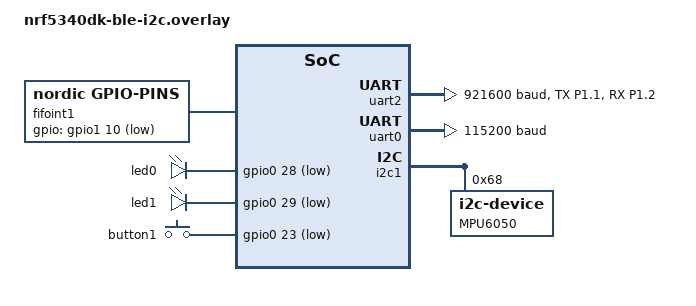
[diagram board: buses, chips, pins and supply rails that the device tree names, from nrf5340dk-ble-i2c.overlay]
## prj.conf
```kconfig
# Misc. settings (allow nonsecure logging, enable I2C)
CONFIG_I2C=y
CONFIG_FPU=y
CONFIG_TFM_SECURE_UART=n
CONFIG_TFM_LOG_LEVEL_SILENCE=y
CONFIG_LOG_BACKEND_SHOW_COLOR=y


# Bluetooth settings
CONFIG_BT=y
CONFIG_BT_PERIPHERAL=y
CONFIG_BT_SMP=n
CONFIG_BT_SETTINGS=n
CONFIG_BT_PRIVACY=n
CONFIG_BT_SIGNING=n
CONFIG_BT_GATT_CACHING=n
CONFIG_BT_USER_DATA_LEN_UPDATE=y
CONFIG_BT_GATT_CLIENT=y
CONFIG_BT_L2CAP_TX_MTU=247
CONFIG_BT_BUF_ACL_TX_SIZE=251
CONFIG_BT_PHY_UPDATE=y
CONFIG_BT_DEVICE_NAME="Arctic_Beacon"

# Logging parameters
CONFIG_LOG=y
CONFIG_PRINTK=y
CONFIG_SERIAL=y
CONFIG_LOG_BACKEND_UART=y
CONFIG_UART_CONSOLE=y
CONFIG_UART_INTERRUPT_DRIVEN=y
CONFIG_LOG_DEFAULT_LEVEL=3
CONFIG_LOG_BUFFER_SIZE=8192
CONFIG_LOG_PROCESS_THREAD_STACK_SIZE=4096
CONFIG_LOG_MODE_DEFERRED=y
```

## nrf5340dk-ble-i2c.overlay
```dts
/ {
    fifoint1: fifoint1 {
        compatible = "nordic,gpio-pins";  
        gpios = <&gpio1 10 GPIO_ACTIVE_LOW>;
    }; 

    aliases {
        led0 = &led0;
        led1 = &led1;
        button1 = &button1;
        fifoint = &fifoint1;
    };
};




/* Override LED0 definition */
&led0 {
    gpios = <&gpio0 28 GPIO_ACTIVE_LOW>;
};
&led1 {
    gpios = <&gpio0 29 GPIO_ACTIVE_LOW>;
};
&button1 {
    gpios = <&gpio0 23 GPIO_ACTIVE_LOW>;
};


&pinctrl {
    uart2_default: uart2_default {
        group1 {
            psels = <
                NRF_PSEL(UART_TX, 1, 1)
                NRF_PSEL(UART_RX, 1, 2)
            >;
        };
    };
};

&uart2 {
    status = "okay";
    current-speed = <921600>;
    pinctrl-0 = <&uart2_default>;
    pinctrl-names = "default";
};

&uart0 {
    current-speed = <115200>;   // logging UART
};

&i2c1{
    mpu6050:mpu6050@68{
        compatible = "i2c-device";
        reg = < 0x68 >;
        status = "okay";
        label = "MPU6050";
    };
};
```

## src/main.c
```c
#include <zephyr/kernel.h>
#include "mpu6050.h"
#include "button.h" 
#include <zephyr/device.h>
#include <zephyr/devicetree.h>
#include <zephyr/drivers/uart.h>
#include <zephyr/logging/log.h>
#include <zephyr/sys/printk.h>

#define STACKSIZE 4096
#define PRIORITY 5
#define SAMPLES_PER_BURST 170   // 1000 samples per burst (~100ms)
#define BURST_INTERVAL_US 125000 // 100ms
#define POLL_INTERVAL_MS 1

#define I2C1_NODE DT_NODELABEL(mpu6050)
static const struct i2c_dt_spec dev_i2c1 = I2C_DT_SPEC_GET(I2C1_NODE);
const struct device *data_uart = DEVICE_DT_GET(DT_NODELABEL(uart2));

extern volatile uint8_t counter;

LOG_MODULE_REGISTER(testapp);


#define FIFO_BUFFER_SIZE 1020
extern volatile bool fifo_data_ready;
extern volatile uint16_t read_size;
extern uint8_t fifo_raw_buffer[FIFO_BUFFER_SIZE];
extern int16_t accel_offset_x;
extern int16_t accel_offset_y;
extern int16_t accel_offset_z;


K_THREAD_STACK_DEFINE(send_data_stack, STACKSIZE);
K_THREAD_STACK_DEFINE(fifo_poll_stack, STACKSIZE);
static struct k_thread send_data_thread_id;
static struct k_thread fifo_poll_thread_id;

void send_data_thread(void)
{
  while (1) {
        if (!fifo_data_ready) {
            k_sleep(K_MSEC(1));
            continue;
        }

        // Number of frames in FIFO
        int samples = read_size / 6;
        int32_t sum_x = 0, sum_y = 0, sum_z = 0;

        for (int i = 0; i < samples; i++) {
            uint8_t *p = &fifo_raw_buffer[i * 6];

            int16_t raw_x = ((int16_t)p[0] << 8) | p[1];
            int16_t raw_y = ((int16_t)p[2] << 8) | p[3];
            int16_t raw_z = ((int16_t)p[4] << 8) | p[5];

            // Apply calibration offsets
            raw_x -= accel_offset_x;
            raw_y -= accel_offset_y;
            raw_z -= accel_offset_z;

            sum_x += raw_x;
            sum_y += raw_y;
            sum_z += raw_z;
        }

        // Average values
        struct Measurement m;
        m.x = (float)sum_x / (samples * 16384.0f);
        m.y = (float)sum_y / (samples * 16384.0f);
        m.z = 1.0f + ((float)sum_z / (samples * 16384.0f));

        // Send over UART
        uart_poll_out(data_uart, 0xAA);
        uart_poll_out(data_uart, 0x55);

        uint8_t *mptr = (uint8_t *)&m;
        for (int j = 0; j < sizeof(m); j++)
            uart_poll_out(data_uart, mptr[j]);

        fifo_data_ready = false;  // Reset flag
    }
} 

void fifo_poll_thread(void)
{
    while (1) {
        uint8_t fifo_cnt[2];
        if (i2c_burst_read_dt(&dev_i2c1, read_addr.fifo_counth, fifo_cnt, 2) != 0) {
            k_sleep(K_MSEC(POLL_INTERVAL_MS));
            continue;
        }

        uint16_t fifo_count = ((uint16_t)fifo_cnt[0] << 8) | fifo_cnt[1];
        if (fifo_count >= 6) {
            uint16_t aligned = fifo_count - (fifo_count % 6);
            if (aligned > FIFO_BUFFER_SIZE)
                aligned = FIFO_BUFFER_SIZE - (FIFO_BUFFER_SIZE % 6);

            if (i2c_burst_read_dt(&dev_i2c1, read_addr.fifo_rw, fifo_raw_buffer, aligned) == 0) {
                read_size = aligned;
                fifo_data_ready = true;
            }
        }

        k_sleep(K_MSEC(1));
    }
}

int main(void)
{
    
    if (!device_is_ready(data_uart)) {
        LOG_ERR("UART2 not ready");
        return 1;
    }

    struct uart_config cfg = {
        .baudrate = 921600,
        .parity = UART_CFG_PARITY_NONE,
        .stop_bits = UART_CFG_STOP_BITS_1,
        .data_bits = UART_CFG_DATA_BITS_8,
        .flow_ctrl = UART_CFG_FLOW_CTRL_NONE,
    };
    uart_configure(data_uart, &cfg); 

        // Initialize button callback (optional)
    gpio_pin_configure_dt(&button1, GPIO_INPUT | GPIO_PULL_UP);
    gpio_pin_interrupt_configure_dt(&button1, GPIO_INT_EDGE_TO_INACTIVE);
    gpio_init_callback(&button_cb, update_press, BIT(button1.pin));
    gpio_add_callback(button1.port, &button_cb);



    // Initialize MPU6050
    if (!mpu6050_init(&dev_i2c1)) return 1;
    if (!mpu6050_accel_test(&dev_i2c1)) return 1;
    if (!mpu6050_calculate_accel_offsets(&dev_i2c1)) return 1;
    if (!fifoint_enable(&dev_i2c1)) return 1;

        // Initialize MPU6050 sensor interrupt
    gpio_pin_configure_dt(&fifoint, GPIO_INPUT | GPIO_PULL_UP);
    gpio_pin_interrupt_configure_dt(&fifoint, GPIO_INT_EDGE_TO_INACTIVE);
    gpio_init_callback(&fifo_cb, readFIFO, BIT(fifoint.pin));
    gpio_add_callback(fifoint.port, &fifo_cb);


    k_thread_create(&fifo_poll_thread_id,
                    fifo_poll_stack,
                    STACKSIZE,
                    fifo_poll_thread,
                    NULL, NULL, NULL,
                    PRIORITY, 0, K_NO_WAIT);
    
    // Start data thread
    k_thread_create(&send_data_thread_id,
                    send_data_stack,
                    STACKSIZE,
                    send_data_thread,
                    NULL, NULL, NULL,
                    PRIORITY, 0, K_NO_WAIT); 

    return 0;
}
```

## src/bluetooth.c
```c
#include "bluetooth.h"
#include "button.h"

LOG_MODULE_DECLARE(testapp);

static bool notify_accel_enabled = false;
extern uint8_t counter;

#define BT_UUID_SERVICE_VAL  BT_UUID_128_ENCODE(0x12345678,0x1234,0x5678,0x1234,0x56789abcdef0)
#define BT_UUID_ACCEL_CHAR_VAL     BT_UUID_128_ENCODE(0x12345679,0x1234,0x5678,0x1234,0x56789abcdef0)

static struct bt_uuid_128 sensor_service_uuid = BT_UUID_INIT_128(BT_UUID_SERVICE_VAL);
static struct bt_uuid_128 accel_char_uuid    = BT_UUID_INIT_128(BT_UUID_ACCEL_CHAR_VAL);

static void accel_ccc_cfg_changed(const struct bt_gatt_attr *attr, uint16_t value);


/* GATT service definition and characteristic definitions */
BT_GATT_SERVICE_DEFINE(my_svc,
    BT_GATT_PRIMARY_SERVICE(&sensor_service_uuid),

    /* ACCEL characteristic */
    BT_GATT_CHARACTERISTIC(&accel_char_uuid.uuid,
            BT_GATT_CHRC_NOTIFY,
            BT_GATT_PERM_NONE,
            NULL, NULL, NULL),

    BT_GATT_CCC(accel_ccc_cfg_changed,
            BT_GATT_PERM_READ | BT_GATT_PERM_WRITE),

    BT_GATT_DESCRIPTOR(BT_UUID_GATT_CUD,
            BT_GATT_PERM_READ,
            NULL, NULL, "Accelerometer Data")
       
);


static void accel_ccc_cfg_changed(const struct bt_gatt_attr *attr, uint16_t value)
{
    notify_accel_enabled = (value & BT_GATT_CCC_NOTIFY) != 0;
}



static void on_connected(struct bt_conn *conn, uint8_t err)
{
    if (err) {
        LOG_ERR("BLE: Failed to connect (%u)\n", err);
    } else {
        LOG_INF("BLE: Connected\n");
    }

}

static void on_disconnected(struct bt_conn *conn, uint8_t reason)
{
    LOG_INF("BLE: Disconnected (reason %u)\n", reason);
}

BT_CONN_CB_DEFINE(conn_callbacks) = {
    .connected = on_connected,
    .disconnected = on_disconnected
};

int my_ble_init(void)
{
    printk("BLE initializing\n");

    int err = bt_enable(NULL);
    if (err) {
        LOG_ERR("BLE init failed (%d)\n", err);
        return err;
    }


    /* Connectable BLE GATT parameters */
    static const struct bt_le_adv_param adv_param = {
        .id = BT_ID_DEFAULT,
        .interval_min = BT_GAP_ADV_FAST_INT_MIN_2,
        .interval_max = BT_GAP_ADV_FAST_INT_MAX_2,
        .options = BT_LE_ADV_OPT_USE_NAME| BT_LE_ADV_OPT_CONNECTABLE,  
    };

    /* Start advertising with aforementioned parameters */
    err = bt_le_adv_start(&adv_param, NULL, 0, NULL, 0);
    if (err) {
        LOG_ERR("Advertising failed (%d)", err);
        return err;
    }

    LOG_INF("Advertising started\n");
    printk("BLE initialized\n");


    return 0;
}
```

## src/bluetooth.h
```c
#ifndef MY_BLUETOOTH_H
#define MY_BLUETOOTH_H

#include <zephyr/bluetooth/bluetooth.h>
#include <zephyr/bluetooth/gatt.h>
#include <zephyr/bluetooth/conn.h>
#include <zephyr/logging/log.h>
#include "measurement.h"
#include <zephyr/sys/byteorder.h>

typedef struct __attribute__((packed)) {
    int16_t x;
    int16_t y;
    int16_t z;
    uint8_t button_val;
} Data;

int my_ble_init(void);

#endif
```

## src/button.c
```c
#include "button.h"

struct gpio_callback button_cb;
volatile uint8_t counter = 0;
const struct gpio_dt_spec button1 = GPIO_DT_SPEC_GET(DT_ALIAS(button1), gpios);

void update_press(const struct device *dev, struct gpio_callback *cb, uint32_t pins)
{

    if(counter < 5)
    {
        counter++;
    }
    else
    {
        counter = 0;
    }
}
```

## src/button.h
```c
#ifndef BUTTON_H
#define BUTTON_H
#include <zephyr/drivers/gpio.h>

extern struct gpio_callback button_cb;
extern const struct gpio_dt_spec button1;
extern struct k_sem conn_sem;

void update_press(const struct device *dev,struct gpio_callback *cb,uint32_t pins);
#endif
```

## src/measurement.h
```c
#ifndef MEASUREMENT_H
#define MEASUREMENT_H

#include <stdint.h>

typedef struct __attribute__((packed)) {
    float x;
    float y;
    float z;
} Data;

struct Measurement {
    float x;
    float y;
    float z;
} __attribute__((packed));

#endif
```

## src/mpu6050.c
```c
#include "mpu6050.h"


LOG_MODULE_DECLARE(testapp);


uint8_t fssel_input = 0x00;
uint8_t accel_input = 0x00;
uint8_t register_data;
int16_t gyro_offset_x = 0, gyro_offset_y = 0 , gyro_offset_z = 0;
int16_t accel_offset_x = 0, accel_offset_y = 0, accel_offset_z = 0;
const struct gpio_dt_spec fifoint = GPIO_DT_SPEC_GET(DT_ALIAS(fifoint), gpios);
struct gpio_callback fifo_cb;
static struct k_work fifo_work;
const struct i2c_dt_spec *mpu_i2c_bus;

#define FIFO_BUFFER_SIZE 1020

uint8_t fifo_raw_buffer[FIFO_BUFFER_SIZE];
volatile bool fifo_data_ready = false;
volatile uint16_t read_size = 0;



bool mpu6050_init(const struct i2c_dt_spec *target_node) 
{   
    uint8_t addr_data; // Used for reading the WHO_AM_I register (the fundamental device availability check)
    uint8_t config_data;
    uint8_t smprate_data;
    uint8_t accel_data;
    uint8_t fssel_data; // Used to check written fssel configuration
    uint8_t power_state; // Used for checking correct write of power state (On)
    uint8_t fssel_selection = 0; // Selection of configuration with index number of fssel_options array
    uint8_t accel_selection = 0;
    bool power = false;
    int res;

    /* Configure LED for calibration signaling (led0 for accel, led1 for gyro)*/
    gpio_pin_configure_dt(&led0, GPIO_OUTPUT_INACTIVE);
    gpio_pin_configure_dt(&led1, GPIO_OUTPUT_INACTIVE);

    /* Check microcontroller I2C bus */
    printk("Initializing MPU6050 driver\n");
    if (!device_is_ready(target_node->bus)) {
        LOG_ERR("I2C bus not ready\n");
        return false;
    }

    /* Check MPU6050 by reading WHO_AM_I register */
    res = i2c_reg_read_byte_dt(target_node, MPU6050_WHOAMI, &addr_data);
    if (res != 0) 
    {
        LOG_ERR("Failed to read WHO_AM_I register (err %d)\n", res);
        return false;
    }

    while (!power)
    {
        /* Reset entire sensor by setting DEVICE_RESET bit */
        res = i2c_reg_write_byte_dt(target_node, init.power, 0x80);
        if(res != 0)
        {
	    LOG_ERR("Failed to reset device");
        return false;
        }

        k_msleep(100);

        /* Reset subsensors and FIFO buffer */
        res = i2c_reg_write_byte_dt(target_node, init.fifo_usrctrl, 0x05);
        if(res != 0)
        {
	    LOG_ERR("Failed to clear buffers");
        return false;
        }

        k_msleep(100);

        /* Set clock source as internal gyroscope Z axis for stability and power on sensor */
        res = i2c_reg_write_byte_dt(target_node, init.power, 0x03);
        if(res != 0)
        {
	    LOG_ERR("Failed to write clock source");
        return false;
        }

        k_msleep(50);

        /* Verify PWR_MGMT_1 register contents */
        res = i2c_reg_read_byte_dt(target_node, init.power, &power_state);
        if(res != 0 || power_state != 0x03) 
        {
        LOG_ERR("Register verification failed");
        return false;
        }
        power = true;
    }

    /* Write CLPF/External Frame Sync configuration */
    res = i2c_reg_write_byte_dt(target_node, init.config[0], init.config[1]);
    if(res != 0)
    {
	    LOG_ERR("Failed to write configuration");
        return false;
    }
    k_msleep(100);

    /* Write sample rate divider */
    res = i2c_reg_write_byte_dt(target_node, init.smp_rate[0], init.smp_rate[1]);
    if(res != 0)
    {
	LOG_ERR("Failed to write sample rate divider");
    return false;
    }
    k_msleep(50);

    /* Set Full Scale Range based on fssel_selection variable */
    switch(fssel_selection)
    {
    case 0:
        break;
    case 1:
        fssel_input = fssel_input | 0x08;
        break;
    case 2:
        fssel_input = fssel_input | 0x10;
        break;
    case 3:
        fssel_input = fssel_input | 0x18;
        break;
    default:
        break;
    }

    uint8_t fs_sel[2] = {shared.gyro_config,fssel_input}; 

    /* Write Full Scale Range configuration */
    res = i2c_reg_write_byte_dt(target_node, fs_sel[0], fs_sel[1]);
    if(res != 0)
    {
	    LOG_ERR("Failed to write full scale range");
        return false;
    }
    k_msleep(50);

     /* Set Full Scale Range based on fssel_selection variable */
    switch(accel_selection)
    {
    case 0:
        break;
    case 1:
        accel_input = accel_input | 0x08;
        break;
    case 2:
        accel_input = accel_input | 0x10;
        break;
    case 3:
        accel_input = accel_input | 0x18;
        break;
    default:
        break;
    }

    uint8_t accel[2] = {shared.accel_config,accel_input}; 

    /* Write Full Scale Range configuration */
    res = i2c_reg_write_byte_dt(target_node, accel[0], accel[1]);
    if(res != 0)
    {
	    LOG_ERR("Failed to write full scale range");
        return false;
    }

    i2c_reg_read_byte_dt(target_node, shared.accel_config, &accel_data);
    printk("Accelerometer config is %x\n", accel_data);


    /* Log written configuration */
    LOG_INF("The full scale range is ±%i°/s\n", 250*(fssel_selection+1));
    if((config_data & 0x07) != 0)
    {
        LOG_INF("The sample rate is %i Hz\n", (8000/(1+init.smp_rate[1]))); // TODO: Check config bits for DLPF and change base sample rate based on it.
    }
    else if((config_data & 0x07) == 0)
    {
        LOG_INF("The sample rate is %i Hz\n", (1000/(1+init.smp_rate[1]))); // TODO: Check config bits for DLPF and change base sample rate based on it.
    }
    LOG_INF("Data written to config: %x\n", config_data);
    printk("MPU6050 driver initialized\n");
    return true;
}



bool fifoint_enable(const struct i2c_dt_spec *target_node)
{
    /* set alternative pointer to MPU6050 to be used by interrupt work handler */
    mpu_i2c_bus = target_node;
    int res;

    /* Write FIFO_EN bit to USER_CTRL */
    i2c_reg_write_byte_dt(target_node, init.fifo_usrctrl, 0x40); 
    k_msleep(50);
    /* Enable acceleration data in FIFO buffer*/
    res = i2c_reg_write_byte_dt(target_node, init.fifoen[0], init.fifoen[1]);
    if(res != 0)
    {
	    LOG_ERR("Failed to enable FIFO");
        return false;
    }

    /* Initialize work handler */
    k_work_init(&fifo_work, fifo_handler);

    /* Enable DATA_RDY interrupts */
    res = i2c_reg_write_byte_dt(target_node, 0x38, 0x10);
    if(res != 0)
    {
        LOG_ERR("Failed to enable FIFO interrupt");
        return false;
    }
    return true;
}



void fifo_handler(struct k_work *work)
{
   uint8_t int_status;

    // Read INT_STATUS register
    if (i2c_reg_read_byte_dt(mpu_i2c_bus, 0x3A, &int_status) != 0) return;

    if (int_status & 0x10) {  // FIFO_OVERFLOW
        //LOG_ERR("FIFO overflow detected, resetting FIFO");

        // Reset FIFO
        i2c_reg_write_byte_dt(mpu_i2c_bus, init.fifo_usrctrl, 0x04); // reset FIFO
        k_msleep(1);
        i2c_reg_write_byte_dt(mpu_i2c_bus, init.fifo_usrctrl, 0x40); // re-enable FIFO

        fifo_data_ready = false; // clear flag
    }
}



void readFIFO(const struct device *dev,struct gpio_callback *cb,uint32_t pins)
{   
    k_work_submit(&fifo_work);
}



bool mpu6050_calculate_gyro_offsets(const struct i2c_dt_spec *target_node)
{
    const int samples = 3000;
    int32_t sum_x = 0, sum_y = 0, sum_z = 0;
    uint8_t buf[6];
    int valid_samples = 0;

    printk("Calculating MPU6050 gyro offsets...\n");
    gpio_pin_toggle_dt(&led1);

    for (int i = 0; i < samples; i++) {
        if (i2c_burst_read_dt(target_node, 0x43, buf, 6) != 0) {
            LOG_ERR("Failed to read gyro sample %d\n", i);
            k_sleep(K_MSEC(2));
            continue;
        }

        sum_x += (int16_t)((buf[0] << 8) | buf[1]);
        sum_y += (int16_t)((buf[2] << 8) | buf[3]);
        sum_z += (int16_t)((buf[4] << 8) | buf[5]);

        valid_samples++;
        k_sleep(K_MSEC(2));
    }

    if (valid_samples == 0) {
        LOG_ERR("No valid gyro samples read\n");
        return false;
    }

    gyro_offset_x = sum_x / valid_samples;
    gyro_offset_y = sum_y / valid_samples;
    gyro_offset_z = sum_z / valid_samples;

    printk("Gyro offsets calculated: X=%d Y=%d Z=%d\n",
           gyro_offset_x, gyro_offset_y, gyro_offset_z);

    gpio_pin_toggle_dt(&led1);
    return true;
}



bool mpu6050_calculate_accel_offsets(const struct i2c_dt_spec *target_node)
{
    const int samples = 5000;
    int32_t sum_x = 0, sum_y = 0, sum_z = 0;
    uint8_t buf[6];
    int valid_samples = 0;

            
    /* Notify user about calibration start via logs and LED */
    printk("Calculating MPU6050 accelerometer offsets...\n");
    gpio_pin_toggle_dt(&led0);


    /* Take samples */
    for (int i = 0; i < samples; i++) {
        if (i2c_burst_read_dt(target_node, 0x3B, buf, 6) != 0) {
            LOG_ERR("Failed to read accel sample %d\n", i);
            k_sleep(K_MSEC(2));
            continue;
        }

        sum_x += (int16_t)((buf[0] << 8) | buf[1]);
        sum_y += (int16_t)((buf[2] << 8) | buf[3]);
        sum_z += (int16_t)((buf[4] << 8) | buf[5]);

        valid_samples++;
        k_sleep(K_MSEC(2));
    }

    if (valid_samples == 0) {
        LOG_ERR("No valid accel samples read\n");
        return false;
    }

    /* calculate offset */
    accel_offset_x = sum_x / valid_samples;
    accel_offset_y = sum_y / valid_samples;

    /* Adjust Z offset to account for gravity (~1g) */
    accel_offset_z = (sum_z / valid_samples) - 16384; // assuming FS=±2g

    printk("Accel offsets calculated: X=%d Y=%d Z=%d\n",
           accel_offset_x, accel_offset_y, accel_offset_z);
    /* Notify user of calibration end via LED */
    gpio_pin_toggle_dt(&led0);       
    return true;
}



bool mpu6050_gyro_test(const struct i2c_dt_spec *target_node) 
{
    uint8_t test_value = fssel_input | 0xE0;
    uint8_t config_write;
    int registers[] = {selftest_addr.x, selftest_addr.y, selftest_addr.z};
    int register_size = sizeof(registers) / sizeof(registers[0]);
    int8_t trim[3];
    int8_t str[3];
    int8_t deviation[3];
    uint8_t test_bits[3];
    uint8_t raw_bits[3];
    
    /* Enable test mode*/
    int res_test = i2c_reg_write_byte_dt(target_node, shared.gyro_config, test_value);
    if(res_test != 0)
    {
	    LOG_ERR("Failed to enable tests!");
        return false;
    }
    for(int i=0; i < register_size; i++)
    {
        int ret = i2c_reg_read_byte_dt(target_node, registers[i], &raw_bits[i]);
        if (ret != 0) {
            LOG_ERR("Failed to read Self-test register (err %d)\n", ret);
            return false;
        }
        raw_bits[i] = raw_bits[i] & 0x1f; // Discard first three bits
    }
    /* Disable test mode */
    int res_notest = i2c_reg_write_byte_dt(target_node, shared.gyro_config, fssel_input);
    if(res_notest != 0)
    {
	    LOG_ERR("Failed to disable tests!");
        return false;
    }
    k_sleep(K_MSEC(250));
    for(int i=0; i < register_size; i++)
    {
        int ret = i2c_reg_read_byte_dt(target_node, registers[i], &test_bits[i]);
        if (ret != 0) {
            LOG_ERR("Failed to read Self-test register (err %d)\n", ret);
            return false;
        }
        test_bits[i] = test_bits[i] & 0x1f; // Discard first three bits
    }

    /* Calculate trim deviation for Gyroscope */
    for(int i=0; i < register_size; i++)
    {
        str[i] = test_bits[i] - raw_bits[i];              // Self-Test Response
        trim[i] = (25*131*pow(1.046, (test_bits[i]-1)));  // 25*131*1.046^(test-1)
        deviation[i] = ((str[i] - trim[i]) / trim[i]);    // trim deviation from Factory defaults in percents
    }
    LOG_INF("Gyroscope X deviation: %i%%, Y deviation: %i%%, Z deviation: %i%%\n", deviation[0], deviation[1], deviation[2]);

    /* Warn user if values under/over tresholds */
    if(!(deviation[0] > -14 && deviation[0] < 14) || !(deviation[1] > -14 && deviation[1] < 14) || !(deviation[2] > -14 && deviation[2] < 14))
    {
        LOG_WRN("Self-test values exceeded/went under treshold. Please check the sensor");
    }
    return true;
}



bool mpu6050_accel_test(const struct i2c_dt_spec *target_node) 
{
    uint8_t test_value = accel_input | 0xE0;
    uint8_t config_write;
    int registers[] = {selftest_addr.x, selftest_addr.y, selftest_addr.z};
    int register_size = sizeof(registers) / sizeof(registers[0]);
    uint8_t extra_bits[3];
    int8_t trim[3];
    int8_t str[3];
    int8_t deviation[3];
    uint8_t test_bits[3];
    uint8_t raw_bits[3];
    
    int res_test = i2c_reg_write_byte_dt(target_node, shared.accel_config, test_value);
    if(res_test != 0)
    {
	    LOG_ERR("Failed to enable tests!");
        return false;
    }
    for(int i=0; i < register_size; i++)
    {
        int ret = i2c_reg_read_byte_dt(target_node, registers[i], &test_bits[i]);
        if (ret != 0) {
            LOG_ERR("Failed to read Self-test register (err %d)\n", ret);
            return false;
        }

        int extra_ret = i2c_reg_read_byte_dt(target_node, 0x10, &extra_bits[i]);
        if (extra_ret != 0) {
            LOG_ERR("Failed to read Self-test register (err %d)\n", ret);
            return false;
        }
        test_bits[i] &= 0xE0; // Remove last five bits
        extra_bits[i] = (extra_bits[i] >> (6 - i*2)) & 0x03; // extract extra bits
        extra_bits[i] <<= 2; // set extra bits to LSB
        test_bits[i] = (test_bits[i] >> 3) | extra_bits[i]; // merge bits
    }
    memset(extra_bits, 0, sizeof(extra_bits)); // Empty extra bit array
    int res_notest = i2c_reg_write_byte_dt(target_node, shared.accel_config, accel_input);
    if(res_notest != 0)
    {
	    LOG_ERR("Failed to disable tests!");
        return false;
    }
    k_sleep(K_MSEC(250));
    for(int i=0; i < register_size; i++)
    {
        int ret = i2c_reg_read_byte_dt(target_node, registers[i], &raw_bits[i]);
        if (ret != 0) {
            LOG_ERR("Failed to read Self-test register (err %d)\n", ret);
            return false;
        }
        raw_bits[i] &= 0xE0; // Remove last five bits
        extra_bits[i] = (extra_bits[i] >> (6 - i*2)) & 0x03; // extract extra bits
        extra_bits[i] <<= 2; // set extra bits to LSB
        raw_bits[i] = (raw_bits[i] >> 3) | extra_bits[i]; // merge bits
    }


    i2c_reg_read_byte_dt(target_node, shared.accel_config, &config_write);
    printk("Accelerometer config after test is %x\n", config_write);

    /*Calculate trim deviation for Accelometer */
    for(int i=0; i < register_size; i++)
    {
        str[i] = test_bits[i] - raw_bits[i];
        trim[i] = 4096*0.34*pow((0.92/0.34),((test_bits[i]-1) / (pow(2,5)-2)));
        deviation[i] = ((str[i] - trim[i]) / trim[i]); 
    }

    LOG_INF("Accelometer X deviation: %i%%, Y deviation: %i%%, Z deviation: %i%%\n", deviation[0], deviation[1], deviation[2]);

    /* Warn user if values under/over tresholds */
    if(!(deviation[0] > -14 && deviation[0] < 14) || !(deviation[1] > -14 && deviation[1] < 14) || !(deviation[2] > -14 && deviation[2] < 14))
    {
        LOG_WRN("Self-test values exceeded/went under treshold. Please check the sensor");
    }
    return true;
}
```

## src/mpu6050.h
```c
#ifndef MPU6050_H
#define MPU6050_H

#include <zephyr/drivers/i2c.h>
#include <zephyr/logging/log.h>
#include <zephyr/drivers/gpio.h>
#include <math.h>
#include "measurement.h"

#define MPU6050_ADDR 0x68
#define MPU6050_WHOAMI 0x75

static const struct gpio_dt_spec led0 = GPIO_DT_SPEC_GET(DT_ALIAS(led0), gpios);
static const struct gpio_dt_spec led1 = GPIO_DT_SPEC_GET(DT_ALIAS(led1), gpios);

extern const struct gpio_dt_spec fifoint;
extern struct gpio_callback fifo_cb;


/* Self-test registers */
static const struct 
{
    const uint8_t x;
    const uint8_t y;
    const uint8_t z;
    const uint8_t gyro_config;
    const uint8_t accel_config;
} selftest_addr = 
{
    .x = 0x0D,
    .y = 0x0E,
    .z = 0x0F
};


/* Used for registers and values used by multiple portions of the software*/
static const struct 
{
    const uint8_t gyro_config;
    const uint8_t accel_config;
} shared = 
{
    .gyro_config = 0x1B,
    .accel_config = 0x1C
};

/* Registers and values used during initialization*/
static const struct 
{
    const uint8_t config[2];
    const uint8_t smp_rate[2];
    const uint8_t power;
    const uint8_t fifoen[2];
    const uint8_t fifo_usrctrl;
} init = 
{
    .config = {0x1A,0x00}, // Configuration, enable/disable CLPF/External Frame Sync
    .smp_rate = {0x19,0}, // Divider for sample rate, sample rate calculated with (8KHz|1KHz)/(1+smp_rate)
    .power = 0x6B, // Register address and value for power state (0x00 for on)
    .fifoen = {0x23, 0x08}, // FIFO Enable register and enable bit for Accelometer
    .fifo_usrctrl = 0x6A // FIFO USER_CTRL register (used for FIFO Ops enable and buffer reset)
};

/* Registers to be read outside of init and/or testing */
static const struct 
{
    const uint8_t gx;
    const uint8_t gy;
    const uint8_t gz;
    const uint8_t fifo_counth;
    const uint8_t fifo_countl;
    const uint8_t fifo_rw;
} read_addr = 
{
    .gx = 0x43,
    .gy = 0x45,
    .gz = 0x47,
    .fifo_counth = 0x72,
    .fifo_countl = 0x73,
    .fifo_rw = 0x74
};


/*Check I2C bus availability and check device availability by reading WHO_AM_I*/
bool mpu6050_init(const struct i2c_dt_spec *target_node);


/* Read self-test registers for gyroscope bits */
bool mpu6050_gyro_test(const struct i2c_dt_spec *target_node);

/* Read self-test registers for accelometer bits */
bool mpu6050_accel_test(const struct i2c_dt_spec *target_node);

bool fifoint_enable(const struct i2c_dt_spec *target_node);

void fifo_handler(struct k_work *work);

void readFIFO(const struct device *dev,struct gpio_callback *cb,uint32_t pins);

/* Read Accelometer values from FIFO buffer */
struct Measurement readAccelFIFO(const struct i2c_dt_spec *target_node);

/* Calibrate the MPU6050 gyroscope by calculating mean and writing to offset registers*/
bool mpu6050_calculate_gyro_offsets(const struct i2c_dt_spec *target_node);

bool mpu6050_calculate_accel_offsets(const struct i2c_dt_spec *target_node);

#endif
```
